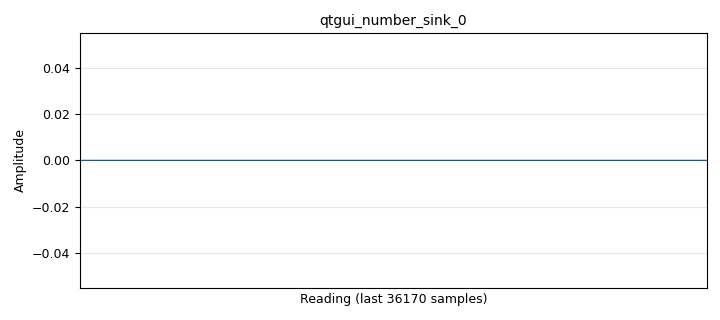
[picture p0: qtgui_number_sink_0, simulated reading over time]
options:
  parameters:
    generate_options: qt_gui
    id: change_variable
    output_language: python
    title: Not titled yet
  states: {}

blocks:
- name: samp_rate
  id: variable
  parameters:
    value: '32000'
  states: {}
- name: vector_len
  id: variable
  parameters:
    value: '1'
  states: {}
- name: blocks_throttle_0
  id: blocks_throttle
  parameters:
    samples_per_second: samp_rate
    type: float
  states: {}
- name: blocks_vector_source_x_0
  id: blocks_vector_source_x
  parameters:
    repeat: 'True'
    type: float
    vector: (0, 0, 0)
    vlen: vector_len
  states: {}
- name: blocks_vector_to_stream_0
  id: blocks_vector_to_stream
  parameters:
    num_items: '1'
    type: float
    vlen: vector_len
  states: {}
- name: qtgui_number_sink_0
  id: qtgui_number_sink
  parameters:
    graph_type: qtgui.NUM_GRAPH_HORIZ
    type: float
  states: {}
- name: zeromq_sub_msg_source_0
  id: zeromq_sub_msg_source
  parameters:
    address: tcp://0.0.0.0:5556
    timeout: '100'
  states: {}

connections:
- [blocks_throttle_0, '0', qtgui_number_sink_0, '0']
- [blocks_vector_source_x_0, '0', blocks_vector_to_stream_0, '0']
- [blocks_vector_to_stream_0, '0', blocks_throttle_0, '0']

metadata:
  file_format: 1
